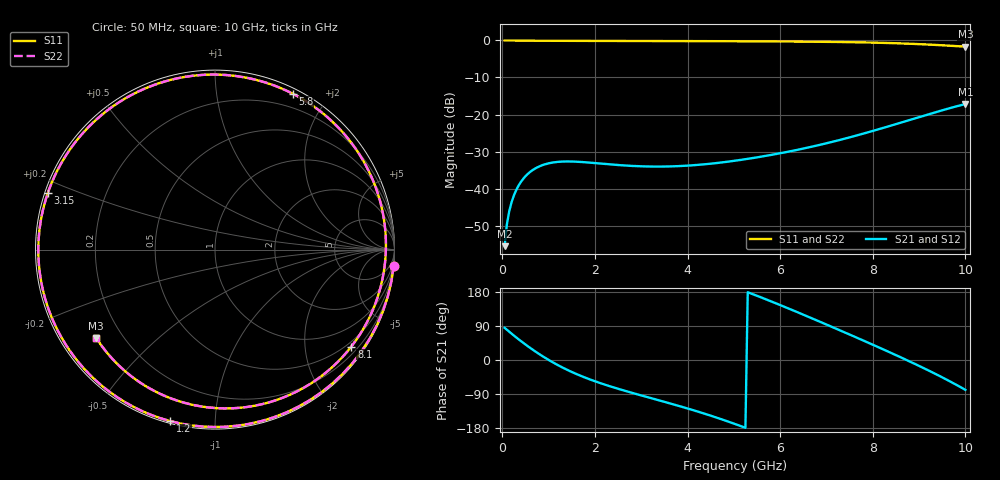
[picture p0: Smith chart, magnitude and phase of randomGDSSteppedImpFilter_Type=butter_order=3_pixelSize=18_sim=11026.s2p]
! freq	dB(S11)	phase(S11)	dB(S12)	phase(S12)
!  dB(S21)	phase(S21)	dB(S22)	phase(S22)
!S-par simulation data
#  GHz  S  DB  R 50
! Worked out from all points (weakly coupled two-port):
!   200 points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, 50 MHz to 10 GHz, reference 50 ohm
!   highest |S21| = -17.18 dB at 10 GHz (marker M1); lowest = -55.6 dB at 50 MHz (marker M2)
!   lowest |S11| = -1.7 dB at 10 GHz (marker M3), VSWR 10.42, Z = 5.32 - j16.4 ohm
!   |S11| at or under -10 dB: nowhere
!   |S22| runs from -1.7 to 0.0 dB; largest |S21 - S12| = 0
!   S11 on the Smith chart (normalised r, x): 50 MHz: 0, -22; 1.2 GHz: 0.01, -0.77; 3.15 GHz: 0.01, +0.16; 5.8 GHz: 0.05, +1.62; 8.1 GHz: 0.38, -3.09; 10 GHz: 0.11, -0.33
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0.05  -0.00 -5.1  -55.55 84.8  -55.55 84.8  -0.00 -5.1
0.1  -0.01 -10.2  -49.57 79.7  -49.57 79.7  -0.01 -10.2
0.15  -0.02 -15.2  -46.11 74.6  -46.11 74.6  -0.02 -15.2
0.25  -0.04 -25.1  -41.87 64.6  -41.87 64.6  -0.04 -25.1
0.4  -0.06 -39.6  -38.23 50.1  -38.23 50.1  -0.06 -39.6
0.8  -0.09 -74.9  -34.01 15.4  -34.01 15.4  -0.09 -74.9
1.2  -0.11 -104.6  -32.79 -13.5  -32.79 -13.5  -0.11 -104.6
1.75  -0.12 -137.5  -32.86 -44.6  -32.86 -44.6  -0.12 -137.5
2.4  -0.13 -168.5  -33.54 -72.2  -33.54 -72.2  -0.13 -168.5
3.15  -0.15 161.4  -34.04 -98.6  -34.04 -98.6  -0.15 161.4
3.4  -0.15 152.0  -34.06 -107.0  -34.06 -107.0  -0.15 152.0
4.25  -0.18 121.1  -33.58 -137.2  -33.58 -137.2  -0.18 121.1
5.05  -0.22 92.0  -32.44 -170.0  -32.44 -170.0  -0.22 92.0
5.8  -0.26 63.4  -30.93 155.0  -30.93 155.0  -0.26 63.4
6.7  -0.34 27.0  -28.65 109.3  -28.65 109.3  -0.34 27.0
7.4  -0.44 -3.2  -26.51 72.5  -26.51 72.5  -0.44 -3.2
8.1  -0.61 -35.4  -24.08 34.9  -24.08 34.9  -0.61 -35.4
8.35  -0.70 -47.5  -23.16 21.2  -23.16 21.2  -0.70 -47.5
8.8  -0.89 -70.4  -21.48 -4.0  -21.48 -4.0  -0.89 -70.4
9.2  -1.11 -92.4  -19.97 -27.4  -19.97 -27.4  -1.11 -92.4
9.6  -1.38 -116.5  -18.50 -52.1  -18.50 -52.1  -1.38 -116.5
10  -1.67 -143.3  -17.18 -78.8  -17.18 -78.8  -1.67 -143.3
